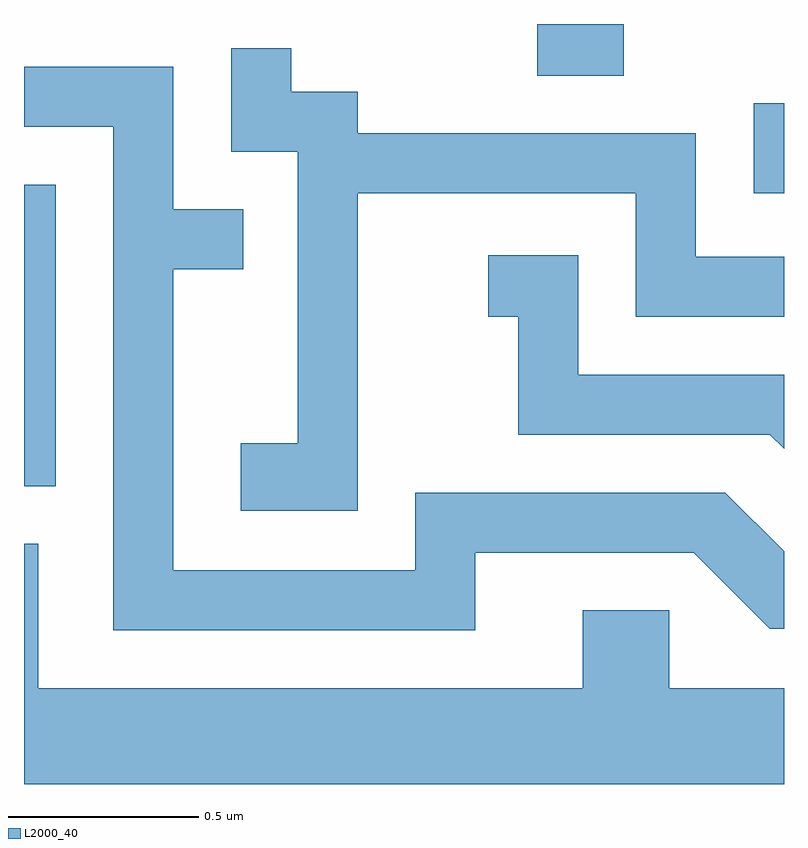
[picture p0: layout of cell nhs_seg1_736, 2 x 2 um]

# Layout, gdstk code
import gdstk
lib = gdstk.Library(unit=1e-6, precision=1e-09)
def R(c, l, rs):  # rectangles x0, y0, x1, y1
    for r in rs: c.add(gdstk.rectangle(r[:2], r[2:], *l))
def P(c, l, *ps):  # polygons
    for p in ps: c.add(gdstk.Polygon(p, *l))
L2000_40 = (2000, 40)

nhs_seg1_736 = lib.new_cell('nhs_seg1_736')
R(nhs_seg1_736, L2000_40, [(190.611,891.496,190.694,892.289), (192.531,892.266,192.611,892.503), (191.961,892.576,192.189,892.712)])
P(nhs_seg1_736, L2000_40, [(191.489,892.266),(192.221,892.266),(192.221,891.941),(192.611,891.941),(192.611,892.099),(192.379,892.099),(192.379,892.424),(191.489,892.424),(191.489,892.534),(191.314,892.534),(191.314,892.648),(191.156,892.648),(191.156,892.376),(191.331,892.376),(191.331,891.609),(191.181,891.609),(191.181,891.431),(191.489,891.431)],
  [(191.799,891.321),(192.374,891.321),(192.574,891.121),(192.611,891.121),(192.611,891.325),(192.457,891.479),(191.641,891.479),(191.641,891.274),(191.004,891.274),(191.004,892.066),(191.188,892.066),(191.188,892.224),(191.004,892.224),(191.004,892.599),(190.611,892.599),(190.611,892.441),(190.846,892.441),(190.846,891.116),(191.799,891.116)],
  [(192.611,891.789),(192.069,891.789),(192.069,892.104),(191.833,892.104),(191.833,891.941),(191.911,891.941),(191.911,891.631),(192.574,891.631),(192.611,891.594)],
  [(192.611,890.964),(192.309,890.964),(192.309,891.169),(192.081,891.169),(192.081,890.964),(190.649,890.964),(190.649,891.344),(190.611,891.344),(190.611,890.712),(192.611,890.712)])

lib.write_gds('nhs_seg1_736.gds')
